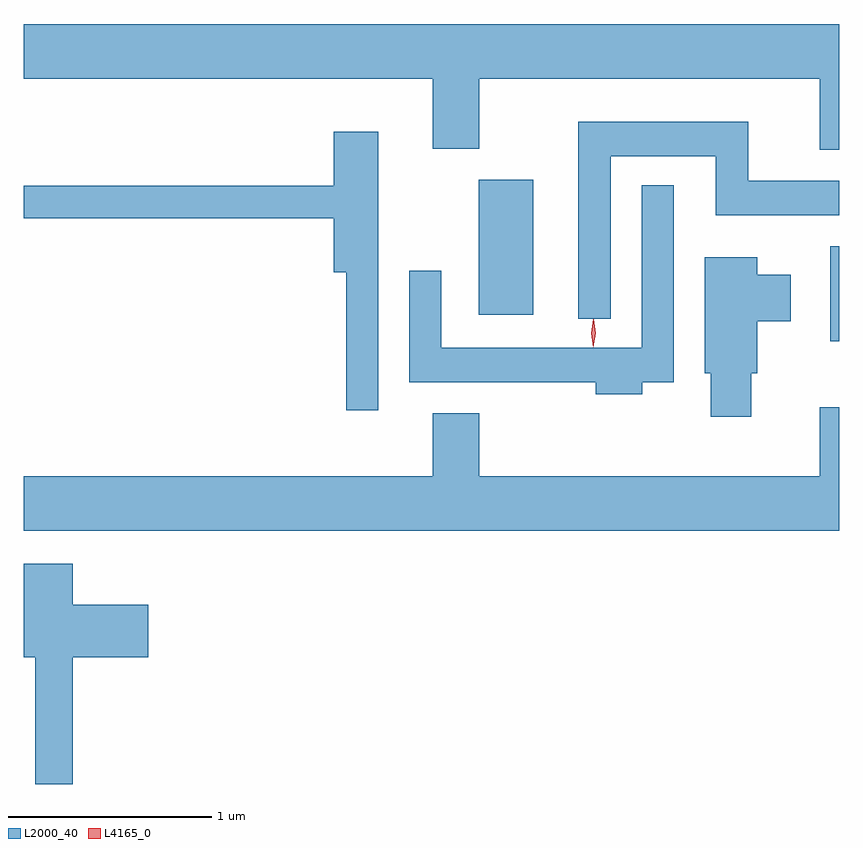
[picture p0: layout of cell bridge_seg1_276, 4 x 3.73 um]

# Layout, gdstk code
import gdstk
lib = gdstk.Library(unit=1e-6, precision=1e-09)
def R(c, l, rs):  # rectangles x0, y0, x1, y1
    for r in rs: c.add(gdstk.rectangle(r[:2], r[2:], *l))
def P(c, l, *ps):  # polygons
    for p in ps: c.add(gdstk.Polygon(p, *l))
L2000_40 = (2000, 40)
L4165_0 = (4165, 0)

bridge_seg1_276 = lib.new_cell('bridge_seg1_276')
R(bridge_seg1_276, L2000_40, [(844.881,900.506,844.925,900.974), (843.156,900.636,843.424,901.299)])
P(bridge_seg1_276, L2000_40, [(844.925,902.064),(840.925,902.064),(840.925,901.796),(842.931,901.796),(842.931,901.451),(843.159,901.451),(843.159,901.796),(844.831,901.796),(844.831,901.446),(844.925,901.446)],
  [(843.804,901.416),(844.321,901.416),(844.321,901.126),(844.925,901.126),(844.925,901.294),(844.479,901.294),(844.479,901.584),(843.646,901.584),(843.646,900.618),(843.804,900.618)],
  [(842.664,901.534),(842.446,901.534),(842.446,901.269),(840.925,901.269),(840.925,901.111),(842.446,901.111),(842.446,900.846),(842.506,900.846),(842.506,900.168),(842.664,900.168)],
  [(843.959,900.306),(844.114,900.306),(844.114,901.273),(843.956,901.273),(843.956,900.474),(842.974,900.474),(842.974,900.853),(842.816,900.853),(842.816,900.306),(843.731,900.306),(843.731,900.246),(843.959,900.246)],
  [(844.494,900.351),(844.524,900.351),(844.524,900.606),(844.689,900.606),(844.689,900.834),(844.524,900.834),(844.524,900.919),(844.266,900.919),(844.266,900.351),(844.296,900.351),(844.296,900.136),(844.494,900.136)],
  [(844.925,900.184),(844.831,900.184),(844.831,899.844),(843.159,899.844),(843.159,900.154),(842.931,900.154),(842.931,899.844),(840.925,899.844),(840.925,899.576),(844.925,899.576)],
  [(841.164,898.956),(841.534,898.956),(841.534,899.214),(841.164,899.214),(841.164,899.414),(840.925,899.414),(840.925,898.956),(840.981,898.956),(840.981,898.334),(841.164,898.334)])
P(bridge_seg1_276, L4165_0, [(843.719,900.477),(843.71,900.547),(843.72,900.616),(843.72,900.616),(843.721,900.616),(843.73,900.547),(843.72,900.477),(843.72,900.477)])

lib.write_gds('bridge_seg1_276.gds')
